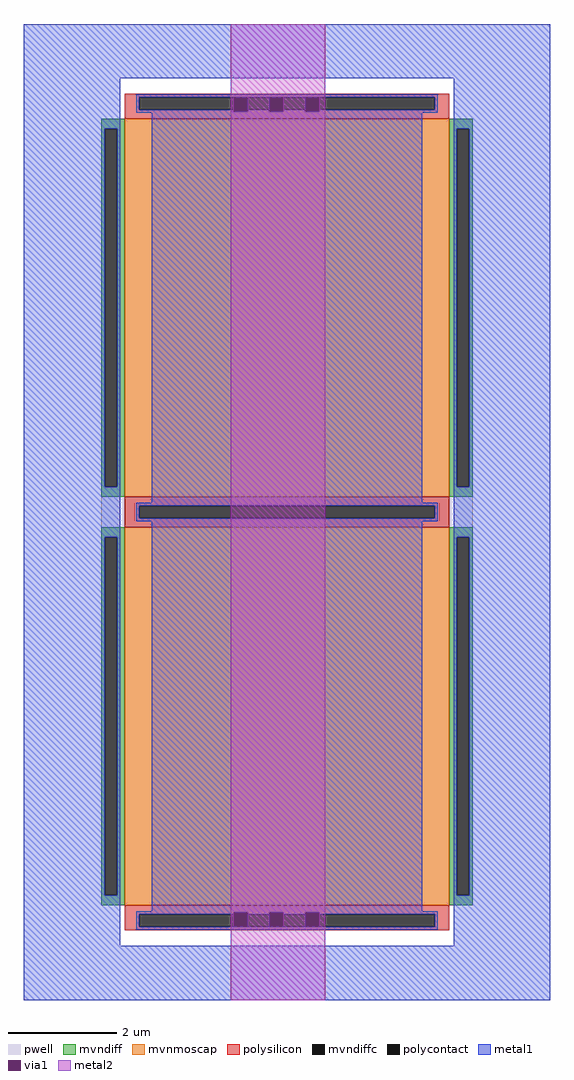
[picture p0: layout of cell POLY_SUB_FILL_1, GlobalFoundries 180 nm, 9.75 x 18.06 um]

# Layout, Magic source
magic
tech gf180mcuD
magscale 1 10
<< pwell >>
rect 597 223 1973 3135
<< mvndiff >>
rect 597 3098 685 3135
rect 597 1772 610 3098
rect 656 1772 685 3098
rect 597 1735 685 1772
rect 1885 3098 1973 3135
rect 1885 1772 1914 3098
rect 1960 1772 1973 3098
rect 1885 1735 1973 1772
rect 597 1586 685 1623
rect 597 260 610 1586
rect 656 260 685 1586
rect 597 223 685 260
rect 1885 1586 1973 1623
rect 1885 260 1914 1586
rect 1960 260 1973 1586
rect 1885 223 1973 260
<< mvndiffc >>
rect 610 1772 656 3098
rect 1914 1772 1960 3098
rect 610 260 656 1586
rect 1914 260 1960 1586
<< mvnmoscap >>
rect 685 1735 1885 3135
rect 685 223 1885 1623
<< polysilicon >>
rect 685 3214 1885 3227
rect 685 3168 738 3214
rect 1832 3168 1885 3214
rect 685 3135 1885 3168
rect 685 1702 1885 1735
rect 685 1656 738 1702
rect 1832 1656 1885 1702
rect 685 1623 1885 1656
rect 685 190 1885 223
rect 685 144 738 190
rect 1832 144 1885 190
rect 685 131 1885 144
<< polycontact >>
rect 738 3168 1832 3214
rect 738 1656 1832 1702
rect 738 144 1832 190
<< metal1 >>
rect 310 3285 2260 3485
rect 310 3098 667 3285
rect 727 3214 1843 3225
rect 727 3168 738 3214
rect 1832 3168 1843 3214
rect 727 3161 1088 3168
rect 1140 3161 1220 3168
rect 1272 3161 1352 3168
rect 1404 3161 1843 3168
rect 727 3157 1843 3161
rect 310 1772 610 3098
rect 656 1772 667 3098
rect 310 1586 667 1772
rect 785 1713 1785 3157
rect 1903 3098 2260 3285
rect 1903 1772 1914 3098
rect 1960 1772 2260 3098
rect 727 1702 1843 1713
rect 727 1656 738 1702
rect 1832 1656 1843 1702
rect 727 1645 1843 1656
rect 310 260 610 1586
rect 656 260 667 1586
rect 310 73 667 260
rect 785 201 1785 1645
rect 1903 1586 2260 1772
rect 1903 260 1914 1586
rect 1960 260 2260 1586
rect 727 197 1843 201
rect 727 190 1088 197
rect 1140 190 1220 197
rect 1272 190 1352 197
rect 1404 190 1843 197
rect 727 144 738 190
rect 1832 144 1843 190
rect 727 133 1843 144
rect 1903 73 2260 260
rect 310 -127 2260 73
<< via1 >>
rect 1088 3168 1140 3213
rect 1220 3168 1272 3213
rect 1352 3168 1404 3213
rect 1088 3161 1140 3168
rect 1220 3161 1272 3168
rect 1352 3161 1404 3168
rect 1088 190 1140 197
rect 1220 190 1272 197
rect 1352 190 1404 197
rect 1088 145 1140 190
rect 1220 145 1272 190
rect 1352 145 1404 190
<< metal2 >>
rect 1076 3213 1427 3485
rect 1076 3161 1088 3213
rect 1140 3161 1220 3213
rect 1272 3161 1352 3213
rect 1404 3161 1427 3213
rect 1076 197 1427 3161
rect 1076 145 1088 197
rect 1140 145 1220 197
rect 1272 145 1352 197
rect 1404 145 1427 197
rect 1076 -127 1427 145
<< properties >>
string GDS_END 17601864
string GDS_FILE $PDKPATH/libs.ref/gf180mcu_fd_io/gds/gf180mcu_fd_io.gds
string GDS_START 17592388
<< end >>
